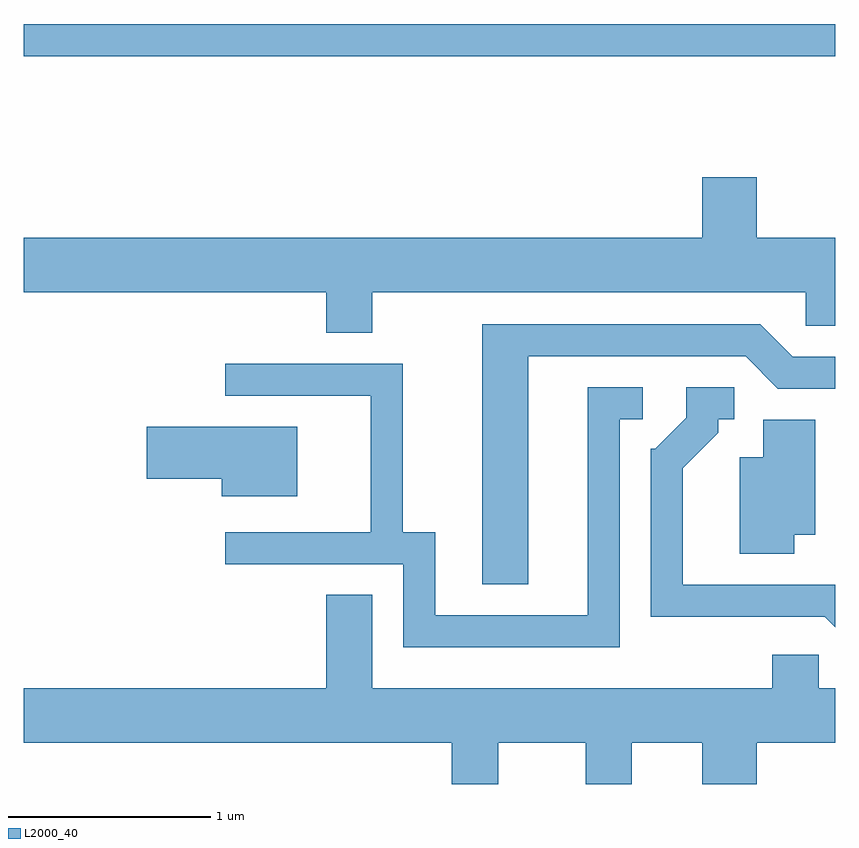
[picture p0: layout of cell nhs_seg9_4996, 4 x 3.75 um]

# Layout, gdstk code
import gdstk
lib = gdstk.Library(unit=1e-6, precision=1e-09)
def R(c, l, rs):  # rectangles x0, y0, x1, y1
    for r in rs: c.add(gdstk.rectangle(r[:2], r[2:], *l))
def P(c, l, *ps):  # polygons
    for p in ps: c.add(gdstk.Polygon(p, *l))
L2000_40 = (2000, 40)

nhs_seg9_4996 = lib.new_cell('nhs_seg9_4996')
R(nhs_seg9_4996, L2000_40, [(331.611,2064.021,335.611,2064.179)])
P(nhs_seg9_4996, L2000_40, [(333.329,2062.856),(335.466,2062.856),(335.466,2062.691),(335.611,2062.691),(335.611,2063.124),(335.224,2063.124),(335.224,2063.424),(334.956,2063.424),(334.956,2063.124),(331.611,2063.124),(331.611,2062.856),(333.101,2062.856),(333.101,2062.656),(333.329,2062.656)],
  [(334.099,2062.541),(335.169,2062.541),(335.329,2062.381),(335.611,2062.381),(335.611,2062.539),(335.402,2062.539),(335.242,2062.699),(333.871,2062.699),(333.871,2061.416),(334.099,2061.416)],
  [(334.549,2062.231),(334.663,2062.231),(334.663,2062.389),(334.391,2062.389),(334.391,2061.264),(333.639,2061.264),(333.639,2061.674),(333.479,2061.674),(333.479,2062.504),(332.603,2062.504),(332.603,2062.346),(333.321,2062.346),(333.321,2061.674),(332.603,2061.674),(332.603,2061.516),(333.481,2061.516),(333.481,2061.106),(334.549,2061.106)],
  [(335.611,2061.414),(334.859,2061.414),(334.859,2061.989),(335.034,2062.164),(335.034,2062.231),(335.113,2062.231),(335.113,2062.389),(334.876,2062.389),(334.876,2062.237),(334.724,2062.084),(334.701,2062.084),(334.701,2061.256),(335.559,2061.256),(335.611,2061.204)],
  [(335.409,2061.661),(335.514,2061.661),(335.514,2062.229),(335.256,2062.229),(335.256,2062.044),(335.141,2062.044),(335.141,2061.566),(335.409,2061.566)],
  [(332.959,2062.194),(332.216,2062.194),(332.216,2061.936),(332.586,2061.936),(332.586,2061.851),(332.959,2061.851)],
  [(333.949,2060.636),(334.381,2060.636),(334.381,2060.432),(334.609,2060.432),(334.609,2060.636),(334.956,2060.636),(334.956,2060.432),(335.224,2060.432),(335.224,2060.636),(335.611,2060.636),(335.611,2060.904),(335.529,2060.904),(335.529,2061.069),(335.301,2061.069),(335.301,2060.904),(333.329,2060.904),(333.329,2061.364),(333.101,2061.364),(333.101,2060.904),(331.611,2060.904),(331.611,2060.636),(333.721,2060.636),(333.721,2060.432),(333.949,2060.432)])

lib.write_gds('nhs_seg9_4996.gds')
